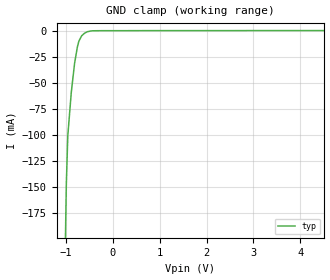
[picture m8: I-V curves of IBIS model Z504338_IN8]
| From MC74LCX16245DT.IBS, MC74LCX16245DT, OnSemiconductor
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| (C) COPYRIGHT 1993-2000
| MENTOR GRAPHICS CORPORATION
| ICX STANDARD LIBRARY, ICX PROJECT MODELING,
| ICX CUSTOM MODELING, ICX VENDOR MODEL
| ALL RIGHTS RESERVED.
| THE FOLLOWING ARE TRADEMARKS OR SERVICE MARKS OF
| MENTOR GRAPHICS CORPORATION:ICX (R), ICX STANDARD
| LIBRARY(R), ICX PROJECT MODELING(R), ICX CUSTOM
| MODELING(R), qualityIBIS(TM), MODELVIEWER(TM),
| AND MODELEDITOR(TM)
| ALL COPIES OF SOFTWARE, INCLUDING BUT NOT LIMITED TO
| ANY MODIFICATIONS, ENHANCEMENTS OR DERIVATIVE WORKS,
| MUST CONTAIN ALL MENTOR GRAPHICS CORPORATION'S
| NOTICES AND LEGENDS, INCLUDING THOSE EMBEDDED IN
| SOFTWARE AND THOSE AFFIXED TO SOFTWARE MEDIUM
| AND CONTAINER, AS RECEIVED FROM MENTOR GRAPHICS
| CORPORATION.
| Model Application Version 1.89 2/18/99.
[Model] Z504338_IN8
Model_type Input
Vinl = 800.0mV
Vinh = 2.000V
C_comp 4.000pF NA NA
| variable typ   min   max
[Voltage Range] 3.300V NA NA
[GND Clamp Reference] 0.000V NA NA
[POWER Clamp Reference] 3.300V NA NA
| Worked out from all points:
|   GND clamp passes 1 mA (typ) near -0.55 V on its own axis
[GND Clamp]
-3.3V     -6.558A    NA         NA
-991.1mV  -147.5mA   NA         NA
-959.5mV  -100.7mA   NA         NA
-886mV    -59.54mA   NA         NA
-815.4mV  -31.32mA   NA         NA
-754.2mV  -15.23mA   NA         NA
-722.5mV  -9.82mA    NA         NA
-663.8mV  -4.757mA   NA         NA
-550.5mV  -999.7uA   NA         NA
-429.7mV  74.27uA    NA         NA
-214.8mV  162.8uA    NA         NA
6.6V      275.9uA    NA         NA
[POWER Clamp]
-3.3V     0A         NA         NA
6.6V      0A         NA         NA
